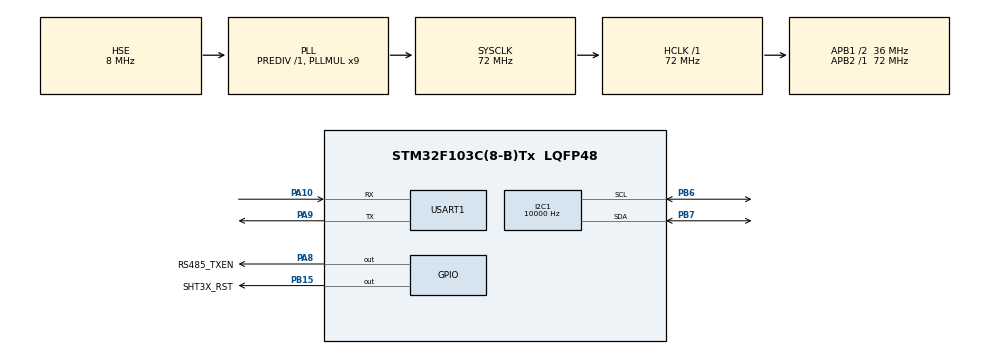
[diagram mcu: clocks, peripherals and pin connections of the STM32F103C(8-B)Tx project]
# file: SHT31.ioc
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I2C1.ClockSpeed=10000
Mcu.Family=STM32F1
Mcu.Name=STM32F103C(8-B)Tx
Mcu.Package=LQFP48
NVIC.PriorityGroup=NVIC_PRIORITYGROUP_4
NVIC.TIM4_IRQn=true\:15\:0\:false\:false\:true\:false\:true\:true
NVIC.TimeBase=TIM4_IRQn
NVIC.TimeBaseIP=TIM4
PA10.Mode=Asynchronous
PA10.Signal=USART1_RX
PA13.Mode=Serial_Wire
PA13.Signal=SYS_JTMS-SWDIO
PA14.Mode=Serial_Wire
PA14.Signal=SYS_JTCK-SWCLK
PA8.GPIO_Label=RS485_TXEN
PA8.GPIO_PuPd=GPIO_PULLUP
PA8.PinState=GPIO_PIN_SET
PA8.Signal=GPIO_Output
PA9.Mode=Asynchronous
PA9.Signal=USART1_TX
PB15.GPIO_Label=SHT3X_RST
PB15.GPIO_PuPd=GPIO_PULLUP
PB15.PinState=GPIO_PIN_SET
PB15.Signal=GPIO_Output
PB6.Mode=I2C
PB6.Signal=I2C1_SCL
PB7.Mode=I2C
PB7.Signal=I2C1_SDA
PD0-OSC_IN.Mode=HSE-External-Oscillator
PD0-OSC_IN.Signal=RCC_OSC_IN
PD1-OSC_OUT.Mode=HSE-External-Oscillator
PD1-OSC_OUT.Signal=RCC_OSC_OUT
ProjectManager.HeapSize=0x200
ProjectManager.StackSize=0x400
ProjectManager.TargetToolchain=STM32CubeIDE
RCC.AHBFreq_Value=72000000
RCC.APB1CLKDivider=RCC_HCLK_DIV2
RCC.APB1Freq_Value=36000000
RCC.APB1TimFreq_Value=72000000
RCC.APB2Freq_Value=72000000
RCC.APB2TimFreq_Value=72000000
RCC.HCLKFreq_Value=72000000
RCC.PLLMUL=RCC_PLL_MUL9
RCC.PLLSourceVirtual=RCC_PLLSOURCE_HSE
RCC.SYSCLKFreq_VALUE=72000000
RCC.SYSCLKSource=RCC_SYSCLKSOURCE_PLLCLK
RCC.USBFreq_Value=72000000
USART1.VirtualMode=VM_ASYNC
VP_SYS_VS_tim4.Mode=TIM4
board=custom

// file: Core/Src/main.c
/* USER CODE BEGIN Header */
/**
  ******************************************************************************
  * @file           : main.c
  * @brief          : Main program body
  ******************************************************************************
  * @attention
  *
  * Copyright (c) 2025 STMicroelectronics.
  * All rights reserved.
  *
  * This software is licensed under terms that can be found in the LICENSE file
  * in the root directory of this software component.
  * If no LICENSE file comes with this software, it is provided AS-IS.
  *
  ******************************************************************************
  */
/* USER CODE END Header */
#include "main.h"
#include "i2c.h"
#include "usart.h"
#include "gpio.h"

/* USER CODE BEGIN Includes */
#include "sht3x.h"
#include <stdio.h>
#include <string.h>
/* USER CODE END Includes */

/* USER CODE BEGIN PV */
sht3x_t sht3x_sensor;

sht3x_result_t result;
sht3x_data_t data;
uint16_t status;
uint32_t measurement_count = 0;
/* USER CODE END PV */

void SystemClock_Config(void);
/* USER CODE BEGIN PFP */
static sht3x_result_t stm32f103_i2c_write(sht3x_t* handle, uint8_t addr, const uint8_t* data, size_t len);
static sht3x_result_t stm32f103_i2c_read(sht3x_t* handle, uint8_t addr, uint8_t* data, size_t len);
static void stm32f103_delay(sht3x_t* handle, uint32_t ms);
/* USER CODE END PFP */

/* USER CODE BEGIN 0 */
#ifdef __GNUC__
int _write(int file, char *ptr, int len) {
    HAL_UART_Transmit(&huart1, (uint8_t*)ptr, len, 1000);
    return len;
}
#endif
/* USER CODE END 0 */

int main(void)
{

  /* MCU Configuration--------------------------------------------------------*/

  /* Reset of all peripherals, Initializes the Flash interface and the Systick. */
  HAL_Init();

  /* Configure the system clock */
  SystemClock_Config();

  /* Initialize all configured peripherals */
  MX_GPIO_Init();
  MX_I2C1_Init();
  MX_USART1_UART_Init();
  /* USER CODE BEGIN 2 */
  HAL_Delay(1000);

  printf("STM32F103C8T6 SHT3x Sensor Example\r\n");
  printf("==================================\r\n");

  /* Test I2C communication first */
  printf("Testing I2C communication...\r\n");

  /* Check if SHT3x device is present on I2C bus */
  HAL_StatusTypeDef i2c_status = HAL_I2C_IsDeviceReady(&hi2c1, SHT3X_ADDR_A << 1, 3, 1000);
  if (i2c_status == HAL_OK) {
      printf("SHT3x device detected at address 0x%02X\r\n", SHT3X_ADDR_A);
  } else {
      printf("SHT3x device NOT detected at address 0x%02X (status: %d)\r\n", SHT3X_ADDR_A, i2c_status);

      /* Try alternative address */
      i2c_status = HAL_I2C_IsDeviceReady(&hi2c1, SHT3X_ADDR_B << 1, 3, 1000);
      if (i2c_status == HAL_OK) {
          printf("SHT3x device detected at address 0x%02X\r\n", SHT3X_ADDR_B);
          sht3x_sensor.addr = SHT3X_ADDR_B;
      } else {
          printf("SHT3x device NOT detected at address 0x%02X either\r\n", SHT3X_ADDR_B);
          printf("Check wiring and power supply!\r\n");
          Error_Handler();
      }
  }

  /* Scan I2C bus for all devices */
  printf("Scanning I2C bus...\r\n");
  uint8_t devices_found = 0;
  for (uint8_t addr = 1; addr < 128; addr++) {
      if (HAL_I2C_IsDeviceReady(&hi2c1, addr << 1, 1, 100) == HAL_OK) {
          printf("Device found at address: 0x%02X\r\n", addr);
          devices_found++;
      }
  }
  if (devices_found == 0) {
      printf("No I2C devices found! Check pull-up resistors and connections.\r\n");
      Error_Handler();
  } else {
      printf("Total devices found: %d\r\n", devices_found);
  }

  /* Configure SHT3x sensor */
  sht3x_sensor.i2c_write = stm32f103_i2c_write;
  sht3x_sensor.i2c_read = stm32f103_i2c_read;
  sht3x_sensor.delay = stm32f103_delay;
  sht3x_sensor.addr = SHT3X_ADDR_A; /* ADDR pin connected to GND */
  sht3x_sensor.user_data = NULL;

  /* Initialize SHT3x sensor */
  printf("Initializing SHT3x sensor...\r\n");
  result = sht3x_init(&sht3x_sensor);
  if (result != SHT3X_OK) {
      printf("SHT3x initialization failed: %d\r\n", result);

      /* Additional debug information */
      switch (result) {
          case SHT3X_ERR_PARAM:
              printf("Error: Invalid parameters\r\n");
              break;
          case SHT3X_ERR_I2C:
              printf("Error: I2C communication failed\r\n");
              break;
          case SHT3X_ERR:
              printf("Error: Generic error (likely soft reset failed)\r\n");
              break;
          default:
              printf("Error: Unknown error code\r\n");
              break;
      }
      Error_Handler();
  }

  printf("SHT3x initialized successfully\r\n");

  /* Check sensor status */
  result = sht3x_read_status(&sht3x_sensor, &status);
  if (result == SHT3X_OK) {
      printf("Initial status: 0x%04X\r\n", status);

      /* Clear any error flags */
      if (status & 0x8013) {
          sht3x_clear_status(&sht3x_sensor);
          printf("Status cleared\r\n");
      }
  }

  /* Set sensor configuration */
  sht3x_set_repeatability(&sht3x_sensor, SHT3X_REPEATABILITY_HIGH);
  printf("Configuration: High repeatability mode\r\n");
  printf("Starting measurements...\r\n\r\n");
  /* USER CODE END 2 */

  /* Infinite loop */
  /* USER CODE BEGIN WHILE */
  while (1)
  {
      /* Turn on LED before measurement */
      HAL_GPIO_WritePin(GPIOC, GPIO_PIN_13, GPIO_PIN_RESET);

      /* Start single shot measurement */
      result = sht3x_start_single_shot(&sht3x_sensor);
      if (result != SHT3X_OK) {
          printf("Failed to start measurement: %d\r\n", result);
          HAL_Delay(1000);
          continue;
      }

      /* Read measurement data */
      result = sht3x_read_data(&sht3x_sensor, &data);
      if (result == SHT3X_OK) {
          measurement_count++;

          /* Validate data range */
          if (data.temperature >= -40.0f && data.temperature <= 125.0f &&
              data.humidity >= 0.0f && data.humidity <= 100.0f) {

              printf("Measurement #%lu: T=%.2f°C, RH=%.2f%%\r\n",
                     measurement_count, data.temperature, data.humidity);

              /* Turn off LED to indicate successful reading */
              HAL_GPIO_WritePin(GPIOC, GPIO_PIN_13, GPIO_PIN_SET);

          } else {
              printf("Measurement #%lu: Invalid data received\r\n", measurement_count);
          }
      } else {
          printf("Failed to read data: %d\r\n", result);

          /* Try to recover by resetting sensor */
          printf("Attempting sensor reset...\r\n");
          result = sht3x_reset(&sht3x_sensor);
          if (result == SHT3X_OK) {
              printf("Sensor reset successful\r\n");
          } else {
              printf("Sensor reset failed: %d\r\n", result);
          }
      }

      /* Check status every 10 measurements */
      if (measurement_count % 10 == 0) {
          result = sht3x_read_status(&sht3x_sensor, &status);
          if (result == SHT3X_OK) {
              printf("Status check: 0x%04X", status);
              if (status & 0x0002) {
                  printf(" [CMD_ERR]");
              }
              if (status & 0x0001) {
                  printf(" [CRC_ERR]");
              }
              printf("\r\n");
          }
      }

      /* Wait 2 seconds between measurements */
      HAL_Delay(2000);
    /* USER CODE END WHILE */

  }
}

void SystemClock_Config(void)
{
  RCC_OscInitTypeDef RCC_OscInitStruct = {0};
  RCC_ClkInitTypeDef RCC_ClkInitStruct = {0};

  /** Initializes the RCC Oscillators according to the specified parameters
  * in the RCC_OscInitTypeDef structure.
  */
  RCC_OscInitStruct.OscillatorType = RCC_OSCILLATORTYPE_HSE;
  RCC_OscInitStruct.HSEState = RCC_HSE_ON;
  RCC_OscInitStruct.HSEPredivValue = RCC_HSE_PREDIV_DIV1;
  RCC_OscInitStruct.HSIState = RCC_HSI_ON;
  RCC_OscInitStruct.PLL.PLLState = RCC_PLL_ON;
  RCC_OscInitStruct.PLL.PLLSource = RCC_PLLSOURCE_HSE;
  RCC_OscInitStruct.PLL.PLLMUL = RCC_PLL_MUL9;
  if (HAL_RCC_OscConfig(&RCC_OscInitStruct) != HAL_OK)
  {
    Error_Handler();
  }

  /** Initializes the CPU, AHB and APB buses clocks
  */
  RCC_ClkInitStruct.ClockType = RCC_CLOCKTYPE_HCLK|RCC_CLOCKTYPE_SYSCLK
                              |RCC_CLOCKTYPE_PCLK1|RCC_CLOCKTYPE_PCLK2;
  RCC_ClkInitStruct.SYSCLKSource = RCC_SYSCLKSOURCE_PLLCLK;
  RCC_ClkInitStruct.AHBCLKDivider = RCC_SYSCLK_DIV1;
  RCC_ClkInitStruct.APB1CLKDivider = RCC_HCLK_DIV2;
  RCC_ClkInitStruct.APB2CLKDivider = RCC_HCLK_DIV1;

  if (HAL_RCC_ClockConfig(&RCC_ClkInitStruct, FLASH_LATENCY_2) != HAL_OK)
  {
    Error_Handler();
  }
}

/* USER CODE BEGIN 4 */
/**
 * \brief           I2C write function for STM32F103C8T6
 */
static sht3x_result_t
stm32f103_i2c_write(sht3x_t* handle, uint8_t addr, const uint8_t* data, size_t len) {
    HAL_StatusTypeDef status;

    printf("I2C Write: addr=0x%02X, len=%d, data=[", addr, (int)len);
    for (size_t i = 0; i < len; i++) {
        printf("0x%02X", data[i]);
        if (i < len - 1) printf(" ");
    }
    printf("]\r\n");

    status = HAL_I2C_Master_Transmit(&hi2c1, addr << 1, (uint8_t*)data, len, 1000);

    printf("I2C Write result: %s\r\n", (status == HAL_OK) ? "OK" : "FAILED");

    return (status == HAL_OK) ? SHT3X_OK : SHT3X_ERR_I2C;
}

/**
 * \brief           I2C read function for STM32F103C8T6
 */
static sht3x_result_t
stm32f103_i2c_read(sht3x_t* handle, uint8_t addr, uint8_t* data, size_t len) {
    HAL_StatusTypeDef status;

    printf("I2C Read: addr=0x%02X, len=%d\r\n", addr, (int)len);

    status = HAL_I2C_Master_Receive(&hi2c1, addr << 1, data, len, 1000);

    if (status == HAL_OK) {
        printf("I2C Read result: OK, data=[");
        for (size_t i = 0; i < len; i++) {
            printf("0x%02X", data[i]);
            if (i < len - 1) printf(" ");
        }
        printf("]\r\n");
    } else {
        printf("I2C Read result: FAILED\r\n");
    }

    return (status == HAL_OK) ? SHT3X_OK : SHT3X_ERR_I2C;
}

/**
 * \brief           Delay function for STM32F103C8T6
 */
static void
stm32f103_delay(sht3x_t* handle, uint32_t ms) {
    HAL_Delay(ms);
}
/* USER CODE END 4 */

void HAL_TIM_PeriodElapsedCallback(TIM_HandleTypeDef *htim)
{
  if (htim->Instance == TIM4)
  {
    HAL_IncTick();
  }
}

void Error_Handler(void)
{
  __disable_irq();
  while (1)
  {
  }
}
